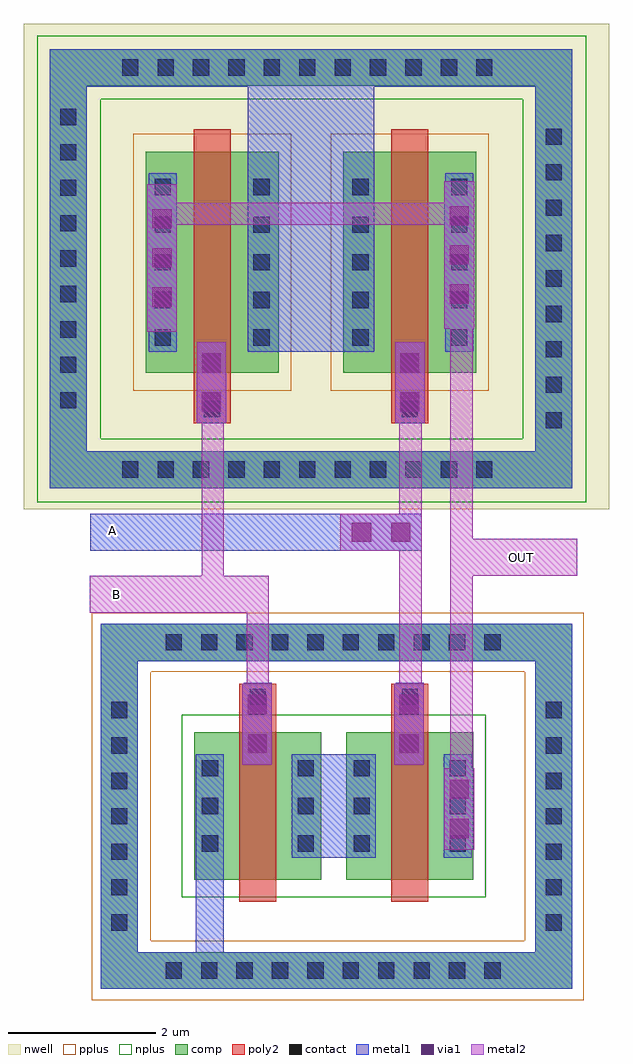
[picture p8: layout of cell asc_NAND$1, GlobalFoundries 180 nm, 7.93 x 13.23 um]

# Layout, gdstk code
from math import pi, radians
import gdstk
lib = gdstk.Library(unit=1e-6, precision=5e-09)
def R(c, l, rs):  # rectangles x0, y0, x1, y1
    for r in rs: c.add(gdstk.rectangle(r[:2], r[2:], *l))
def A(c, l, x, y, w, h, nx, ny, dx, dy):  # array of equal rectangles
    R(c, l, [(x+i*dx, y+j*dy, x+i*dx+w, y+j*dy+h) for i in range(nx) for j in range(ny)])
nwell = (21, 0)
comp = (22, 0)
poly2 = (30, 0)
pplus = (31, 0)
nplus = (32, 0)
contact = (33, 0)
metal1 = (34, 0)
via1 = (35, 0)
metal2 = (36, 0)

via_dev_5 = lib.new_cell('via_dev$5')
R(via_dev_5, metal1, [(0,0,0.4,1.1)])
R(via_dev_5, via1, [(0.07,0.155,0.33,0.415), (0.07,0.685,0.33,0.945)])
R(via_dev_5, metal2, [(0,0,0.4,1.1)])

via_dev_7 = lib.new_cell('via_dev$7')
R(via_dev_7, metal1, [(0,0,0.4,2)])
A(via_dev_7, via1, 0.07, 0.34, 0.26, 0.26, 1, 3, 0, 0.53)
R(via_dev_7, metal2, [(0,0,0.4,2)])

via_dev_8 = lib.new_cell('via_dev$8')
R(via_dev_8, comp, [(0,0,0.5,5.5)])
A(via_dev_8, contact, 0.14, 0.24, 0.22, 0.22, 1, 11, 0, 0.48)
R(via_dev_8, metal1, [(0,0,0.5,5.5)])

via_dev_9 = lib.new_cell('via_dev$9')
R(via_dev_9, comp, [(0,0,0.5,4.5)])
A(via_dev_9, contact, 0.14, 0.22, 0.22, 0.22, 1, 9, 0, 0.48)
R(via_dev_9, metal1, [(0,0,0.5,4.5)])

via_dev_10 = lib.new_cell('via_dev$10')
R(via_dev_10, comp, [(0,0,0.5,5)])
A(via_dev_10, contact, 0.14, 0.23, 0.22, 0.22, 1, 10, 0, 0.48)
R(via_dev_10, metal1, [(0,0,0.5,5)])

via_dev_11 = lib.new_cell('via_dev$11')
R(via_dev_11, comp, [(0,0,0.5,3.5)])
A(via_dev_11, contact, 0.14, 0.2, 0.22, 0.22, 1, 7, 0, 0.48)
R(via_dev_11, metal1, [(0,0,0.5,3.5)])

pfet_3 = lib.new_cell('pfet$3')
R(pfet_3, nwell, [(-0.9,-0.44,1.78,3.44)])
R(pfet_3, comp, [(-0.46,0,0,3), (0,0,0.88,3), (0.88,0,1.34,3)])
R(pfet_3, poly2, [(0.19,-0.68,0.69,-0.3), (0.19,-0.3,0.69,3.3)])
R(pfet_3, pplus, [(-0.63,-0.24,1.51,3.24)])
A(pfet_3, contact, -0.34, 0.37, 0.22, 0.22, 1, 5, 0, 0.51)
A(pfet_3, contact, 1, 0.37, 0.22, 0.22, 1, 5, 0, 0.51)
R(pfet_3, contact, [(0.33,-0.6,0.55,-0.38)])
R(pfet_3, metal1, [(0.25,-0.68,0.63,-0.3), (-0.42,0.29,-0.04,2.71), (0.92,0.29,1.3,2.71)])

nfet_3 = lib.new_cell('nfet$3')
R(nfet_3, comp, [(-0.42,0,0,2), (0,0,0.88,2), (0.88,0,1.3,2)])
R(nfet_3, poly2, [(0.19,-0.3,0.69,2.3), (0.19,2.3,0.69,2.66)])
R(nfet_3, nplus, [(-0.59,-0.24,1.47,2.24)])
A(nfet_3, contact, -0.32, 0.38, 0.22, 0.22, 1, 3, 0, 0.51)
A(nfet_3, contact, 0.98, 0.38, 0.22, 0.22, 1, 3, 0, 0.51)
R(nfet_3, contact, [(0.33,2.37,0.55,2.59)])
R(nfet_3, metal1, [(-0.4,0.3,-0.02,1.7), (0.9,0.3,1.28,1.7), (0.25,2.29,0.63,2.67)])

via_dev_4 = lib.new_cell('via_dev$4')
R(via_dev_4, metal1, [(0,0,0.5,1.1)])
R(via_dev_4, via1, [(0.12,0.155,0.38,0.415), (0.12,0.685,0.38,0.945)])
R(via_dev_4, metal2, [(0,0,0.5,1.1)])

asc_nand_1 = lib.new_cell('asc_NAND$1')
R(asc_nand_1, nwell, [(-5.03,5.095,2.9,11.675)])
R(asc_nand_1, comp, [(-3.99,-1.405,-3.49,-0.815), (-3.49,-1.405,-3.34,-0.905), (1.66,-1.405,1.9,-0.905), (1.9,-1.405,2.4,-0.815), (-3.99,2.685,-3.49,3.045), (1.9,2.685,2.4,3.545), (-3.99,3.045,-3.34,3.545), (1.66,3.045,2.4,3.545), (-4.68,5.385,-4.18,6.245), (-4.68,5.385,-3.94,5.885), (1.56,5.385,1.9,5.885), (1.9,5.385,2.4,5.975), (1.9,10.475,2.4,11.335), (-4.68,10.745,-4.18,11.335), (-4.18,10.835,-3.94,11.335), (1.56,10.835,2.4,11.335)])
R(asc_nand_1, nplus, [(-4.85,5.195,2.59,6.055), (-4.85,5.195,-3.99,11.435), (1.73,5.195,2.59,11.435), (-4.85,10.655,2.59,11.515)])
R(asc_nand_1, metal1, [(-3.99,-1.405,-3.34,-0.905), (-3.99,-1.405,-3.49,-0.815), (-3.99,-1.405,2.4,-0.905), (-3.99,-1.405,-3.49,3.045), (1.66,-1.405,2.4,-0.905), (1.9,-1.405,2.4,3.545), (1.9,-1.395,2.4,-0.815), (-2.7,-1.265,-2.32,1.775), (-1.4,0.375,-0.26,1.775), (-3.99,2.685,-3.49,3.045), (1.9,2.685,2.4,3.535), (-3.99,3.035,2.4,3.545), (-3.99,3.045,-3.34,3.545), (1.61,3.045,2.4,3.545), (-4.13,4.535,0.36,5.035), (-4.68,5.385,-3.94,5.885), (1.56,5.385,2.4,5.885), (-4.68,5.395,-4.18,6.245), (1.9,5.395,2.4,5.975), (-2,7.235,-0.28,11.285), (1.9,10.475,2.4,11.325), (-4.68,10.745,-4.18,11.325), (-4.68,10.825,2.4,11.335), (-4.68,10.835,-3.94,11.335), (1.56,10.835,2.4,11.335)])
asc_nand_1.add(gdstk.FlexPath([(2.56,3.295),(-4.11,3.295)], 0.8, ends="flush", simple_path=True, layer=31, datatype=0))  # pplus
asc_nand_1.add(gdstk.FlexPath([(-3.71,3.695),(-3.71,-1.555)], 0.8, ends="flush", simple_path=True, layer=31, datatype=0))  # pplus
asc_nand_1.add(gdstk.FlexPath([(2.56,-1.155),(-4.11,-1.155)], 0.8, ends="flush", simple_path=True, layer=31, datatype=0))  # pplus
asc_nand_1.add(gdstk.FlexPath([(2.16,3.695),(2.16,-1.555)], 0.8, ends="flush", simple_path=True, layer=31, datatype=0))  # pplus
asc_nand_1.add(gdstk.FlexPath([(0.9,1.475),(0.9,9.105)], 0.3, ends="flush", simple_path=True, layer=36, datatype=0))  # metal2
asc_nand_1.add(gdstk.FlexPath([(-3.15,7.535),(-3.15,9.165)], 0.3, ends="flush", simple_path=True, layer=36, datatype=0))  # metal2
asc_nand_1.add(gdstk.FlexPath([(-3.15,9.105),(1,9.105)], 0.3, ends="flush", simple_path=True, layer=36, datatype=0))  # metal2
asc_nand_1.add(gdstk.FlexPath([(0.9,4.445),(2.47,4.445)], 0.5, ends="flush", simple_path=True, layer=36, datatype=0))  # metal2
asc_nand_1.add(gdstk.FlexPath([(-1.71,3.945),(-4.14,3.945)], 0.5, ends="flush", simple_path=True, layer=36, datatype=0))  # metal2
asc_nand_1.add(gdstk.FlexPath([(0.21,2.445),(0.21,6.505)], 0.3, ends="flush", simple_path=True, layer=36, datatype=0))  # metal2
asc_nand_1.add(gdstk.FlexPath([(-1.86,2.445),(-1.86,3.995)], 0.3, ends="flush", simple_path=True, layer=36, datatype=0))  # metal2
asc_nand_1.add(gdstk.FlexPath([(-2.47,6.525),(-2.47,3.695)], 0.3, ends="flush", simple_path=True, layer=36, datatype=0))  # metal2
asc_nand_1.add(gdstk.FlexPath([(-1.71,3.845),(-2.62,3.845)], 0.3, ends="flush", simple_path=True, layer=36, datatype=0))  # metal2
asc_nand_1.add(gdstk.Reference(via_dev_5, (-1.67,1.635), rotation=pi, x_reflection=True))
asc_nand_1.add(gdstk.Reference(via_dev_5, (-2.29,6.265), rotation=pi, x_reflection=True))
asc_nand_1.add(gdstk.Reference(via_dev_5, (0.39,1.635), rotation=pi, x_reflection=True))
asc_nand_1.add(gdstk.Reference(via_dev_5, (0.4,6.265), rotation=pi, x_reflection=True))
asc_nand_1.add(gdstk.Reference(via_dev_7, (-2.96,7.505), rotation=pi, x_reflection=True))
asc_nand_1.add(gdstk.Reference(via_dev_7, (1.07,7.545), rotation=pi, x_reflection=True))
asc_nand_1.add(gdstk.Reference(via_dev_5, (1.07,0.485), rotation=pi, x_reflection=True))
asc_nand_1.add(gdstk.Reference(via_dev_8, (-3.94,10.835), rotation=pi/2, x_reflection=True))
asc_nand_1.add(gdstk.Reference(via_dev_8, (-3.94,5.385), rotation=pi/2, x_reflection=True))
asc_nand_1.add(gdstk.Reference(via_dev_9, (2.4,5.975), rotation=pi, x_reflection=True))
asc_nand_1.add(gdstk.Reference(via_dev_10, (-3.34,3.045), rotation=pi/2, x_reflection=True))
asc_nand_1.add(gdstk.Reference(via_dev_10, (-3.34,-1.405), rotation=pi/2, x_reflection=True))
asc_nand_1.add(gdstk.Reference(via_dev_11, (-3.49,-0.815), rotation=pi, x_reflection=True))
asc_nand_1.add(gdstk.Reference(via_dev_11, (2.4,-0.815), rotation=pi, x_reflection=True))
asc_nand_1.add(gdstk.Reference(pfet_3, (0.64,6.945), rotation=pi, x_reflection=True))
asc_nand_1.add(gdstk.Reference(pfet_3, (-2.04,6.945), rotation=pi, x_reflection=True))
asc_nand_1.add(gdstk.Reference(nfet_3, (-1.42,0.075), rotation=pi, x_reflection=True))
asc_nand_1.add(gdstk.Reference(nfet_3, (0.64,0.075), rotation=pi, x_reflection=True))
asc_nand_1.add(gdstk.Reference(via_dev_4, (0.36,4.535), rotation=pi/2))
asc_nand_1.add(gdstk.Reference(via_dev_9, (-4.68,10.745), x_reflection=True))
asc_nand_1.add(gdstk.Label('A', (-3.83,4.805), layer=34, texttype=10))
asc_nand_1.add(gdstk.Label('OUT', (1.71,4.445), layer=34, texttype=10))
asc_nand_1.add(gdstk.Label('B', (-3.77,3.945), layer=36, texttype=10))

lib.write_gds('asc_NAND_1.gds')
